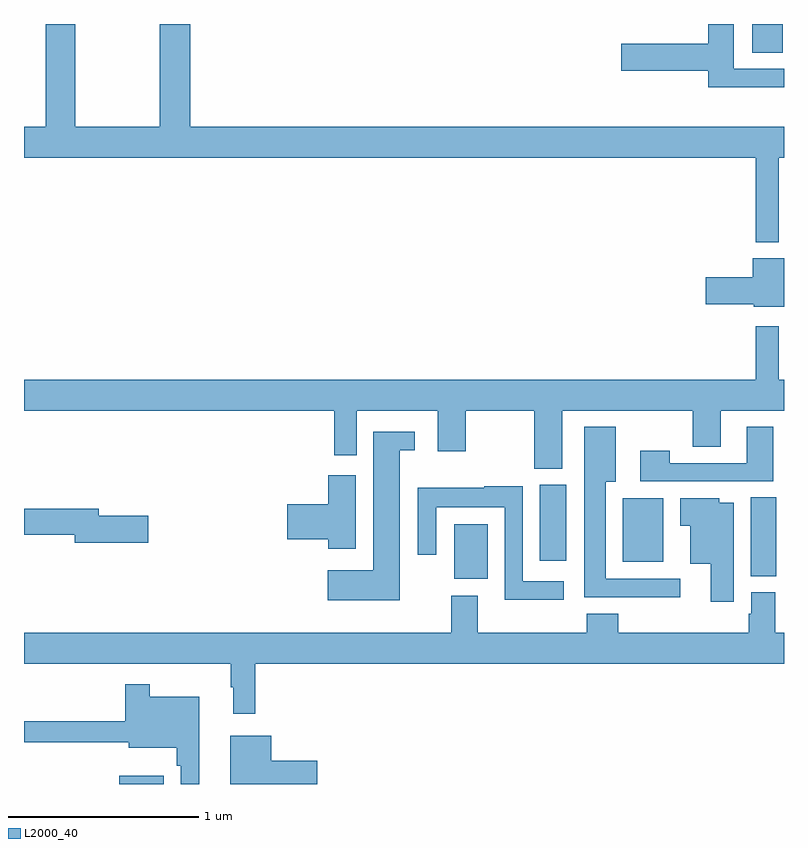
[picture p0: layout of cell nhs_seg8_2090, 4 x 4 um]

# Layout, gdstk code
import gdstk
lib = gdstk.Library(unit=1e-6, precision=1e-09)
def R(c, l, rs):  # rectangles x0, y0, x1, y1
    for r in rs: c.add(gdstk.rectangle(r[:2], r[2:], *l))
def P(c, l, *ps):  # polygons
    for p in ps: c.add(gdstk.Polygon(p, *l))
L2000_40 = (2000, 40)

nhs_seg8_2090 = lib.new_cell('nhs_seg8_2090')
R(nhs_seg8_2090, L2000_40, [(243.5,1083.9,243.736,1083.943), (245.264,1084.979,245.44,1085.266), (246.824,1084.993,246.958,1085.408), (246.152,1085.069,246.364,1085.404), (245.714,1085.076,245.854,1085.475), (246.833,1087.75,246.994,1087.9)])
P(nhs_seg8_2090, L2000_40, [(246.973,1087.196),(247,1087.196),(247,1087.36),(243.875,1087.36),(243.875,1087.9),(243.715,1087.9),(243.715,1087.36),(243.27,1087.36),(243.27,1087.9),(243.115,1087.9),(243.115,1087.36),(243,1087.36),(243,1087.196),(246.852,1087.196),(246.852,1086.752),(246.973,1086.752)],
  [(247,1087.665),(246.736,1087.665),(246.736,1087.9),(246.602,1087.9),(246.602,1087.796),(246.144,1087.796),(246.144,1087.654),(246.602,1087.654),(246.602,1087.568),(247,1087.568)],
  [(247,1086.667),(246.836,1086.667),(246.836,1086.566),(246.588,1086.566),(246.588,1086.424),(246.84,1086.424),(246.84,1086.413),(247,1086.413)],
  [(245.833,1085.864),(246.52,1085.864),(246.52,1085.674),(246.667,1085.674),(246.667,1085.864),(247,1085.864),(247,1086.028),(246.973,1086.028),(246.973,1086.31),(246.852,1086.31),(246.852,1086.028),(243,1086.028),(243,1085.864),(244.632,1085.864),(244.632,1085.631),(244.75,1085.631),(244.75,1085.864),(245.177,1085.864),(245.177,1085.652),(245.325,1085.652),(245.325,1085.864),(245.686,1085.864),(245.686,1085.56),(245.833,1085.56)],
  [(246.454,1084.98),(246.061,1084.98),(246.061,1085.492),(246.115,1085.492),(246.115,1085.779),(245.948,1085.779),(245.948,1084.883),(246.454,1084.883)],
  [(246.943,1085.779),(246.803,1085.779),(246.803,1085.589),(246.399,1085.589),(246.399,1085.653),(246.243,1085.653),(246.243,1085.493),(246.943,1085.493)],
  [(244.978,1085.657),(245.056,1085.657),(245.056,1085.754),(244.838,1085.754),(244.838,1085.026),(244.598,1085.026),(244.598,1084.868),(244.978,1084.868)],
  [(244.747,1085.524),(244.601,1085.524),(244.601,1085.372),(244.386,1085.372),(244.386,1085.189),(244.601,1085.189),(244.601,1085.139),(244.747,1085.139)],
  [(245.842,1084.968),(245.625,1084.968),(245.625,1085.468),(245.422,1085.468),(245.422,1085.458),(245.073,1085.458),(245.073,1085.106),(245.169,1085.106),(245.169,1085.357),(245.529,1085.357),(245.529,1084.871),(245.842,1084.871)],
  [(246.736,1085.38),(246.66,1085.38),(246.66,1085.404),(246.455,1085.404),(246.455,1085.258),(246.506,1085.258),(246.506,1085.06),(246.614,1085.06),(246.614,1084.86),(246.736,1084.86)],
  [(243.655,1085.312),(243.394,1085.312),(243.394,1085.348),(243,1085.348),(243,1085.212),(243.266,1085.212),(243.266,1085.17),(243.655,1085.17)],
  [(244.217,1084.532),(247,1084.532),(247,1084.696),(246.955,1084.696),(246.955,1084.908),(246.827,1084.908),(246.827,1084.797),(246.815,1084.797),(246.815,1084.696),(246.128,1084.696),(246.128,1084.795),(245.963,1084.795),(245.963,1084.696),(245.389,1084.696),(245.389,1084.891),(245.249,1084.891),(245.249,1084.696),(243,1084.696),(243,1084.532),(244.089,1084.532),(244.089,1084.409),(244.1,1084.409),(244.1,1084.269),(244.217,1084.269)],
  [(243.922,1084.36),(243.661,1084.36),(243.661,1084.426),(243.532,1084.426),(243.532,1084.231),(243,1084.231),(243,1084.12),(243.551,1084.12),(243.551,1084.091),(243.805,1084.091),(243.805,1083.995),(243.825,1083.995),(243.825,1083.9),(243.922,1083.9)],
  [(244.543,1084.022),(244.3,1084.022),(244.3,1084.153),(244.085,1084.153),(244.085,1083.9),(244.543,1083.9)])

lib.write_gds('nhs_seg8_2090.gds')
